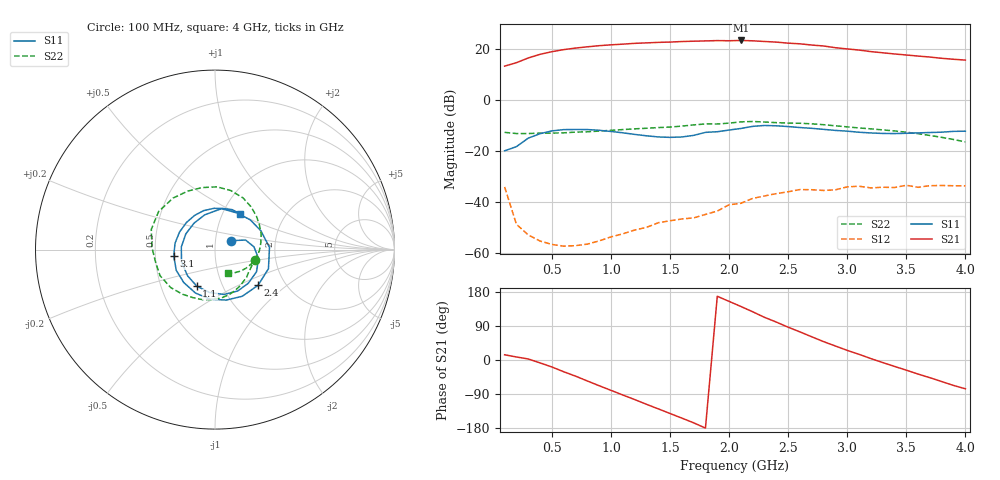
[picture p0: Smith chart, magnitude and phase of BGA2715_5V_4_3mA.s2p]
! Bias: Vs=5.00 V; Is=4.3 mA
#  MHz  S  MA  R 50
! Freq  S11  S21  S12  S22
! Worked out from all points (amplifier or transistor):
!   40 points, 100 MHz to 4 GHz, reference 50 ohm
!   highest |S21| = 23.4 dB at 2.1 GHz (marker M1)
!   |S21| within 3 dB of that: 698.8 MHz to 2.932 GHz (2.233 GHz wide, 123 % of centre)
!   unconditionally stable (mu >= 1): start of sweep to end of sweep
!   at 700 MHz: K = 30.57, MAG = 21.0 dB, |S12| = -57.3 dB
!   at 2.1 GHz: K = 2.87, MAG = 24.6 dB, |S12| = -40.6 dB
!   at 4 GHz: K = 3.76, MAG = 16.0 dB, |S12| = -33.8 dB
!   S11 on the Smith chart (normalised r, x): 100 MHz: 1.19, +0.11; 1.1 GHz: 0.76, -0.32; 2.4 GHz: 1.46, -0.64; 3.1 GHz: 0.62, -0.05; 4 GHz: 1.21, +0.51
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100  0.1005 27.8  4.642 13.8  0.01958 -110.3  0.2319 -14.4
300  0.1784 17.4  6.724 2.7  0.00223 161.3  0.2196 -19.9
500  0.2476 -11.7  8.934 -18.4  0.00145 168.4  0.2241 -28.9
700  0.2638 -45.4  10.52 -42.6  0.00137 147.3  0.2341 -41.2
800  0.263 -61.2  11.14 -55.3  0.00147 124.9  0.2376 -48.1
1000  0.2411 -96.9  12.18 -80.1  0.00204 155.3  0.2538 -63.8
1100  0.2272 -116.6  12.56 -92.3  0.00234 171.4  0.2627 -72.1
1200  0.2113 -136.5  13.03 -104.3  0.00278 147.5  0.2715 -82.3
1400  0.1883 175.4  13.61 -128.9  0.00387 138.7  0.2876 -104.1
1600  0.1879 128.6  14.14 -153.4  0.00459 124.9  0.3074 -125.9
1800  0.2315 80.8  14.54 -179.7  0.00564 120.4  0.3389 -154.6
1900  0.2383 58.8  14.76 168.2  0.00657 106.7  0.3385 -168.0
2100  0.2764 22.2  14.85 141.3  0.00934 89.4  0.3724 162.3
2300  0.3163 -19.7  14.18 112.5  0.013 68.9  0.3702 129.1
2400  0.3117 -39.7  13.78 100.0  0.01447 54.1  0.3595 115.0
2600  0.2881 -77.4  12.75 74.1  0.0174 33.1  0.3498 88.1
2700  0.2779 -95.3  12.07 61.2  0.01725 19.8  0.3406 75.1
2900  0.253 -133.4  10.7 36.9  0.01719 -4.6  0.3119 50.0
3100  0.2327 -171.1  9.61 15.0  0.02022 -19.7  0.2828 28.7
3400  0.2194 136.7  8.061 -16.9  0.01907 -45.6  0.2473 -1.6
3700  0.2301 91.2  7.011 -46.7  0.02076 -61.4  0.2012 -31.3
4000  0.2442 54.6  6.106 -76.0  0.02053 -85.2  0.1501 -60.8
